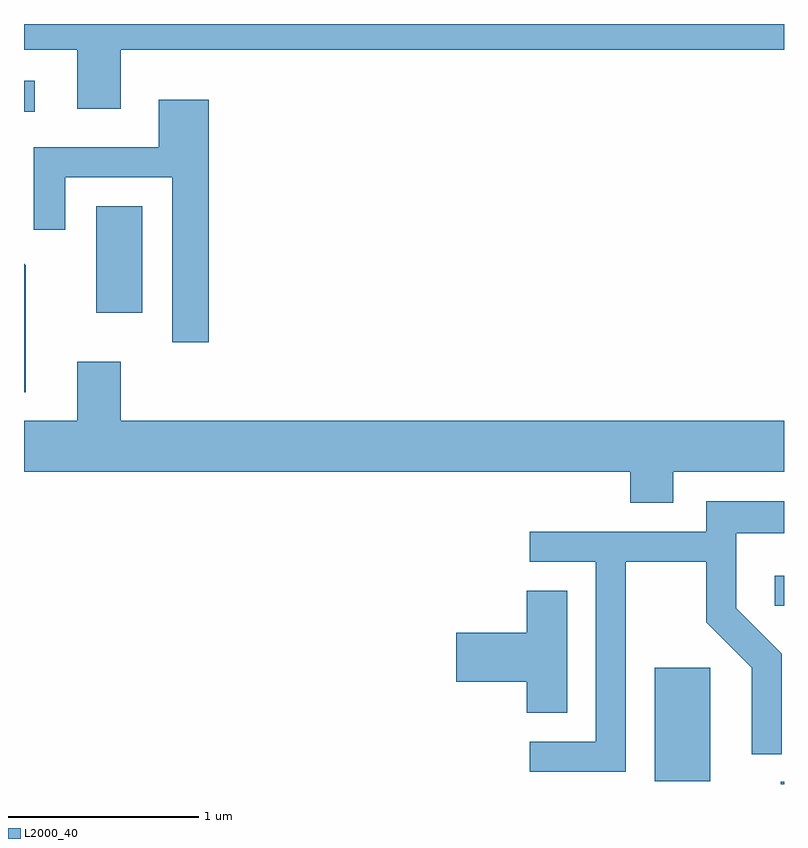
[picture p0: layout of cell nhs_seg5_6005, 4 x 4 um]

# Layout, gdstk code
import gdstk
lib = gdstk.Library(unit=1e-6, precision=1e-09)
def R(c, l, rs):  # rectangles x0, y0, x1, y1
    for r in rs: c.add(gdstk.rectangle(r[:2], r[2:], *l))
def P(c, l, *ps):  # polygons
    for p in ps: c.add(gdstk.Polygon(p, *l))
L2000_40 = (2000, 40)

nhs_seg5_6005 = lib.new_cell('nhs_seg5_6005')
R(nhs_seg5_6005, L2000_40, [(367.593,1424.072,367.611,1424.084), (366.931,1424.086,367.224,1424.684), (367.563,1425.011,367.611,1425.169), (363.991,1426.551,364.234,1427.114), (363.611,1427.611,363.668,1427.774)])
P(nhs_seg5_6005, L2000_40, [(364.119,1427.936),(367.611,1427.936),(367.611,1428.072),(363.611,1428.072),(363.611,1427.936),(363.891,1427.936),(363.891,1427.626),(364.119,1427.626)],
  [(364.584,1427.674),(364.321,1427.674),(364.321,1427.424),(363.661,1427.424),(363.661,1426.988),(363.829,1426.988),(363.829,1427.266),(364.391,1427.266),(364.391,1426.396),(364.584,1426.396)],
  [(363.619,1426.802),(363.611,1426.81),(363.611,1426.133),(363.619,1426.133)],
  [(367.029,1425.716),(367.611,1425.716),(367.611,1425.984),(364.119,1425.984),(364.119,1426.294),(363.891,1426.294),(363.891,1425.984),(363.611,1425.984),(363.611,1425.716),(366.801,1425.716),(366.801,1425.551),(367.029,1425.551)],
  [(366.779,1425.241),(367.201,1425.241),(367.201,1424.924),(367.441,1424.684),(367.441,1424.228),(367.599,1424.228),(367.599,1424.757),(367.359,1424.997),(367.359,1425.391),(367.611,1425.391),(367.611,1425.559),(367.201,1425.559),(367.201,1425.399),(366.273,1425.399),(366.273,1425.241),(366.621,1425.241),(366.621,1424.294),(366.273,1424.294),(366.273,1424.136),(366.779,1424.136)],
  [(366.469,1425.089),(366.256,1425.089),(366.256,1424.869),(365.886,1424.869),(365.886,1424.611),(366.256,1424.611),(366.256,1424.446),(366.469,1424.446)])

lib.write_gds('nhs_seg5_6005.gds')
